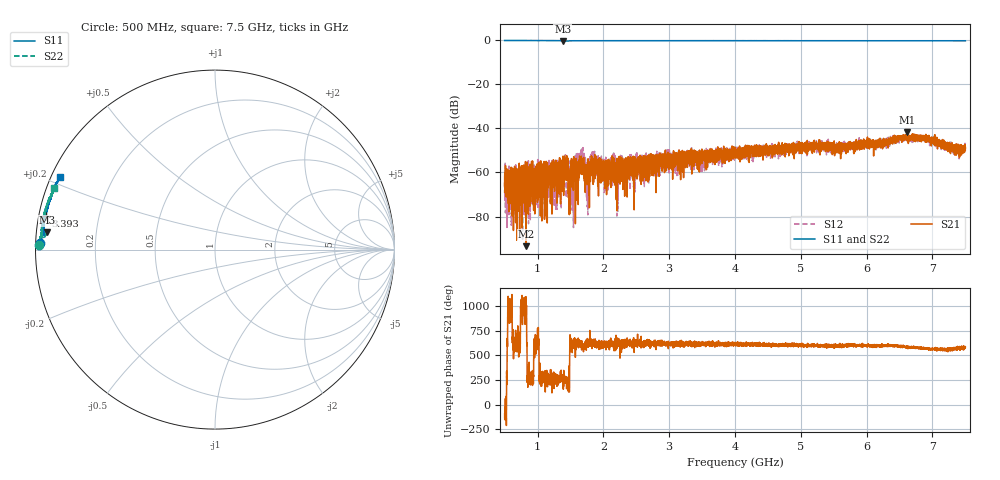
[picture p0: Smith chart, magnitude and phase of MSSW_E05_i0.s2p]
!Keysight Technologies,M9374A,MY55442783,A.12.55.05
!Date: Thursday, May 20, 2021 11:23:11
!Correction: S11(Full 2 Port(1,2))
!S21(Full 2 Port(1,2))
!S12(Full 2 Port(1,2))
!S22(Full 2 Port(1,2))
!S2P File: Measurements: S11, S21, S12, S22:
# Hz S  RI  R 50
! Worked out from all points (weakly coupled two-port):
!   7001 points, 500 MHz to 7.5 GHz, reference 50 ohm
!   highest |S21| = -41.77 dB at 6.615 GHz (marker M1); lowest = -93.4 dB at 826 MHz (marker M2)
!   lowest |S11| = -0.6 dB at 1.382 GHz (marker M3), VSWR 31.58, Z = 1.59 + j2.58 ohm
!   |S11| at or under -10 dB: nowhere
!   |S22| runs from -0.5 to -0.2 dB; largest |S21 - S12| = 0.003
!   S11 on the Smith chart (normalised r, x): 500 MHz: 0.01, +0.02; 3.393 GHz: 0.02, +0.10; 7.5 GHz: 0.02, +0.22
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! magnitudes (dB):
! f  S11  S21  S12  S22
! 500 MHz  -0.2  -66.0  -64.3  -0.2
! 701 MHz  -0.2  -59.3  -70.8  -0.2
! 826 MHz  -0.3  -93.4  -59.7  -0.2
! 1.382 GHz  -0.6  -60.8  -62.4  -0.5
! 1.442 GHz  -0.5  -60.5  -54.8  -0.4
! 1.513 GHz  -0.4  -57.6  -62.8  -0.3
! 1.584 GHz  -0.4  -59.6  -55.2  -0.3
! 1.667 GHz  -0.4  -54.2  -53.3  -0.3
! 1.761 GHz  -0.4  -59.2  -61.5  -0.3
! 1.833 GHz  -0.4  -56.8  -50.6  -0.3
! 2.073 GHz  -0.3  -56.9  -61.6  -0.2
! 2.15 GHz  -0.3  -56.0  -53.1  -0.3
! 2.208 GHz  -0.3  -53.6  -61.6  -0.2
! 2.271 GHz  -0.3  -61.7  -53.8  -0.3
! 2.348 GHz  -0.3  -56.0  -55.9  -0.2
! 2.834 GHz  -0.3  -56.1  -54.1  -0.2
! 3.393 GHz  -0.3  -53.1  -52.5  -0.2
! 4 GHz  -0.3  -51.1  -49.9  -0.3
! 5.167 GHz  -0.4  -50.7  -47.9  -0.3
! 6.334 GHz  -0.4  -45.9  -47.3  -0.3
! 6.615 GHz  -0.4  -41.8  -43.9  -0.4
! 7.5 GHz  -0.4  -48.9  -50.2  -0.4
